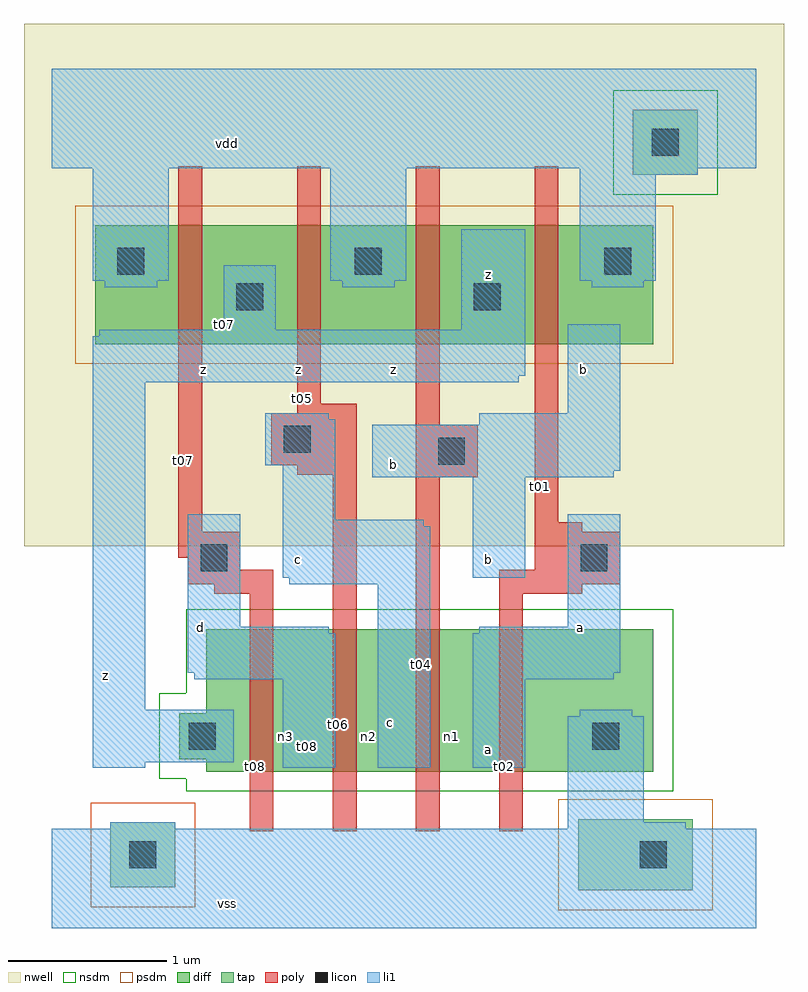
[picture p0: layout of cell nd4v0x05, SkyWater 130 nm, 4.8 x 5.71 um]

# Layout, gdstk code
import gdstk
lib = gdstk.Library(unit=1e-6, precision=5e-09)
def R(c, l, rs):  # rectangles x0, y0, x1, y1
    for r in rs: c.add(gdstk.rectangle(r[:2], r[2:], *l))
def A(c, l, x, y, w, h, nx, ny, dx, dy):  # array of equal rectangles
    R(c, l, [(x+i*dx, y+j*dy, x+i*dx+w, y+j*dy+h) for i in range(nx) for j in range(ny)])
nwell = (64, 20)
diff = (65, 20)
tap = (65, 44)
poly = (66, 20)
licon = (66, 44)
li1 = (67, 20)
nsdm = (93, 44)
psdm = (94, 20)

nd4v0x05 = lib.new_cell('nd4v0x05')
R(nd4v0x05, nwell, [(-0.3,2.4,4.5,5.7)])
R(nd4v0x05, diff, [(0.85,0.975,3.675,1.875), (0.68,1.055,3.675,1.345), (0.15,3.675,3.675,4.425)])
R(nd4v0x05, tap, [(3.2,0.225,3.925,0.675), (0.245,0.245,0.655,0.655), (3.545,4.745,3.955,5.155)])
R(nd4v0x05, poly, [(1.125,0.6,1.275,2.25), (1.65,0.6,1.8,3.3), (2.175,0.6,2.325,4.8), (2.7,0.6,2.85,2.25), (0.9,2.1,1.275,2.25), (2.7,2.1,3.225,2.25), (2.925,2.1,3.075,4.8), (2.925,2.1,3.225,2.55), (0.735,2.16,1.065,2.49), (2.925,2.16,3.465,2.49), (0.675,2.325,0.825,4.8), (2.175,2.835,2.565,3.165), (1.425,2.85,1.8,3.3), (1.425,2.85,1.575,4.8), (1.26,2.91,1.8,3.24)])
R(nd4v0x05, licon, [(0.365,0.365,0.535,0.535), (3.59,0.365,3.76,0.535), (0.74,1.115,0.91,1.285), (3.29,1.115,3.46,1.285), (0.815,2.24,0.985,2.41), (3.215,2.24,3.385,2.41), (2.315,2.915,2.485,3.085), (1.34,2.99,1.51,3.16), (1.04,3.89,1.21,4.06), (2.54,3.89,2.71,4.06), (0.29,4.115,0.46,4.285), (1.79,4.115,1.96,4.285), (3.365,4.115,3.535,4.285), (3.665,4.865,3.835,5.035)])
A(nd4v0x05, li1, 0.775, 3.435, 0.25, 0.33, 3, 1, 0.6, 0)
R(nd4v0x05, li1, [(-0.125,-0.015,4.325,0.615), (-0.125,-0.015,4.325,0.615), (0.245,-0.015,0.655,0.655), (3.135,-0.015,3.615,1.325), (3.135,-0.015,3.88,0.655), (3.21,-0.015,3.54,1.365), (0.135,1,0.465,3.725), (0.175,1,0.465,3.765), (1.335,1,1.665,1.85), (1.335,1,1.625,1.89), (1.935,1,2.225,2.565), (1.935,1,2.265,2.525), (2.535,1,2.865,1.85), (2.575,1,2.865,1.89), (0.135,1.035,1.025,1.365), (1.375,1.035,1.625,1.365), (2.575,1.035,2.825,1.365), (0.135,1.075,0.465,3.125), (1.935,1.075,2.265,1.925), (0.775,1.56,1.065,2.6), (0.775,1.56,1.625,1.89), (0.775,1.56,1.665,1.85), (2.535,1.56,3.425,1.85), (2.575,1.56,3.425,1.89), (2.575,1.56,3.425,1.89), (3.135,1.56,3.425,2.6), (0.735,1.6,1.065,2.6), (0.735,1.6,1.665,1.85), (0.735,1.6,1.625,1.89), (2.535,1.6,3.465,1.85), (2.535,1.6,3.465,1.85), (2.535,1.6,3.465,1.85), (2.575,1.6,3.465,1.89), (2.575,1.6,3.465,1.89), (3.135,1.6,3.465,2.6), (0.735,1.675,1.065,2.525), (3.135,1.675,3.465,2.525), (1.375,2.16,1.665,3.2), (1.375,2.16,2.225,2.565), (1.375,2.16,2.265,2.525), (1.375,2.16,1.625,3.24), (1.335,2.2,1.665,3.2), (1.335,2.2,1.625,3.24), (1.335,2.2,2.265,2.525), (1.335,2.2,2.225,2.565), (2.535,2.2,2.865,3.165), (2.575,2.2,2.865,3.24), (1.375,2.235,1.625,2.565), (2.575,2.235,2.825,2.565), (1.9,2.835,3.425,3.165), (1.975,2.835,2.225,3.165), (2.575,2.835,3.425,3.24), (3.135,2.835,3.425,3.8), (3.135,2.835,3.425,3.8), (1.9,2.875,3.465,3.165), (2.575,2.875,3.465,3.24), (2.575,2.875,3.465,3.24), (3.135,2.875,3.465,3.8), (1.225,2.91,1.665,3.2), (1.225,2.91,1.625,3.24), (0.135,3.435,2.825,3.725), (0.175,3.435,2.825,3.765), (0.96,3.435,1.29,4.175), (2.46,3.435,2.825,4.4), (3.175,3.435,3.425,3.765), (0.135,3.475,2.865,3.725), (0.175,3.475,2.865,3.765), (2.46,3.475,2.865,4.4), (0.21,4.035,0.54,5.415), (1.71,4.035,2.04,5.415), (2.575,4.035,2.825,4.365), (3.285,4.035,3.615,5.415), (0.135,4.075,0.615,5.415), (1.635,4.075,2.115,5.415), (3.21,4.075,3.69,5.415), (3.21,4.745,3.955,5.415), (-0.125,4.785,4.325,5.415), (-0.125,4.785,4.325,5.415)])
R(nd4v0x05, nsdm, [(0.725,0.85,3.8,2), (0.555,0.93,3.8,1.47), (1.275,0.975,1.575,1.875), (1.275,0.975,1.575,1.875), (1.8,0.975,2.1,1.875), (1.8,0.975,2.1,1.875), (2.325,0.975,2.625,1.875), (2.325,0.975,2.625,1.875), (3.075,0.975,3.675,1.875), (3.075,0.975,3.675,1.875), (0.68,1.055,0.97,1.345), (3.23,1.055,3.52,1.345), (3.42,4.62,4.08,5.28)])
R(nd4v0x05, psdm, [(3.075,0.1,4.05,0.8), (0.12,0.12,0.78,0.78), (0.025,3.55,3.8,4.55), (0.15,3.675,0.6,4.425), (0.15,3.675,0.6,4.425), (0.975,3.675,1.275,4.425), (0.975,3.675,1.275,4.425), (1.725,3.675,2.025,4.425), (1.725,3.675,2.025,4.425), (2.475,3.675,2.775,4.425), (2.475,3.675,2.775,4.425), (3.225,3.675,3.675,4.425), (3.225,3.675,3.675,4.425), (0.98,3.83,1.27,4.12), (2.48,3.83,2.77,4.12), (0.23,4.055,0.52,4.345), (1.73,4.055,2.02,4.345), (3.305,4.055,3.595,4.345)])
nd4v0x05.add(gdstk.Label('t08', (1.49,1.135), layer=93, texttype=44))
nd4v0x05.add(gdstk.Label('t07', (0.965,3.8), layer=94, texttype=20))
nd4v0x05.add(gdstk.Label('n3', (1.555,1.2), layer=65, texttype=20))
nd4v0x05.add(gdstk.Label('t07', (1.03,3.86), layer=65, texttype=20))
nd4v0x05.add(gdstk.Label('n1', (2.4,1.2), layer=93, texttype=44))
nd4v0x05.add(gdstk.Label('n2', (1.875,1.2), layer=93, texttype=44))
nd4v0x05.add(gdstk.Label('n3', (1.35,1.2), layer=93, texttype=44))
nd4v0x05.add(gdstk.Label('t07', (0.71,2.94), layer=66, texttype=20))
nd4v0x05.add(gdstk.Label('t08', (1.16,1.01), layer=66, texttype=20))
nd4v0x05.add(gdstk.Label('t06', (1.685,1.275), layer=66, texttype=20))
nd4v0x05.add(gdstk.Label('t05', (1.46,3.335), layer=66, texttype=20))
nd4v0x05.add(gdstk.Label('t04', (2.21,1.65), layer=66, texttype=20))
nd4v0x05.add(gdstk.Label('t02', (2.735,1.01), layer=66, texttype=20))
nd4v0x05.add(gdstk.Label('t01', (2.96,2.775), layer=66, texttype=20))
nd4v0x05.add(gdstk.Label('z', (0.215,1.585), layer=67, texttype=20))
nd4v0x05.add(gdstk.Label('d', (0.815,1.885), layer=67, texttype=20))
nd4v0x05.add(gdstk.Label('z', (0.835,3.515), layer=67, texttype=20))
nd4v0x05.add(gdstk.Label('c', (2.015,1.285), layer=67, texttype=20))
nd4v0x05.add(gdstk.Label('d', (1.435,1.115), layer=67, texttype=20))
nd4v0x05.add(gdstk.Label('c', (1.435,2.315), layer=67, texttype=20))
nd4v0x05.add(gdstk.Label('b', (2.035,2.915), layer=67, texttype=20))
nd4v0x05.add(gdstk.Label('z', (1.435,3.515), layer=67, texttype=20))
nd4v0x05.add(gdstk.Label('z', (2.035,3.515), layer=67, texttype=20))
nd4v0x05.add(gdstk.Label('a', (2.635,1.115), layer=67, texttype=20))
nd4v0x05.add(gdstk.Label('b', (2.635,2.315), layer=67, texttype=20))
nd4v0x05.add(gdstk.Label('z', (2.635,4.115), layer=67, texttype=20))
nd4v0x05.add(gdstk.Label('vss', (0.985,0.14), layer=67, texttype=20))
nd4v0x05.add(gdstk.Label('a', (3.215,1.885), layer=67, texttype=20))
nd4v0x05.add(gdstk.Label('b', (3.235,3.515), layer=67, texttype=20))
nd4v0x05.add(gdstk.Label('vdd', (0.985,4.94), layer=67, texttype=20))

lib.write_gds('nd4v0x05.gds')
